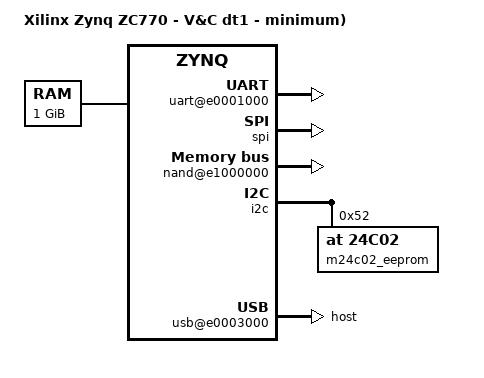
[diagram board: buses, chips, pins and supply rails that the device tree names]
/dts-v1/;

/ {
	model = "Xilinx Zynq ZC770 - V&C dt1 - minimum)";
	compatible = "xlnx,zynq-zc770-xm010";
	#address-cells = <0x1>;
	#size-cells = <0x1>;
	interrupt-parent = <0x1>;

	memory {
		device_type = "memory";
		reg = <0x0 0x40000000>;
	};

	chosen {
		bootargs = "console=ttyPS0,115200 root=/dev/ram rw initrd=0x800000,8M earlyprintk";
		linux,stdout-path = "/amba@0/uart@E0001000";
	};

	amba@0 {
		compatible = "simple-bus";
		#address-cells = <0x1>;
		#size-cells = <0x1>;
		ranges;

		intc@f8f01000 {
			interrupt-controller;
			compatible = "arm,gic";
			reg = <0xf8f01000 0x1000>;
			#interrupt-cells = <0x2>;
			linux,phandle = <0x1>;
			phandle = <0x1>;
		};

		uart@e0001000 {
			compatible = "xlnx,ps7-uart-1.00.a";
			reg = <0xe0001000 0x1000>;
			interrupts = <0x52 0x0>;
			clock = <0x2faf080>;
		};

		timer@0xf8001000 {
			compatible = "xlnx,ps7-ttc-1.00.a";
			reg = <0xf8001000 0x1000>;
			interrupts = <0x2a 0x0>;
			clock-frequency = <0x7ed6b40>;
		};

		spi: spi@e0006000 {
			compatible = "xlnx,ps7-spi-1.00.a";
			reg = <0xe0006000 0x1000>;
			interrupts = <58 0>;
			speed-hz = <50000000>;
			bus-num = <0>;
			num-chip-select = <4>;
		};

		nand@e1000000 {
			compatible = "xlnx,ps7-nand-1.00.a";
			reg = <0xe1000000 0x1000000 0xe000e000 0x1000>;
			#address-cells = <0x1>;
			#size-cells = <0x1>;

			partition@0 {
				label = "nand-fsbl-uboot-bit";
				reg = <0x0 0x500000>;
			};

			partition@1 {
				label = "nand-linux";
				reg = <0x500000 0x300000>;
			};

			partition@2 {
				label = "nand-devicetree";
				reg = <0x800000 0x100000>;
			};

			partition@3 {
				label = "nand-ramdisk";
				reg = <0x900000 0x400000>;
			};

			partition@4 {
				label = "nand-scratch";
				reg = <0xd00000 0x200000>;
			};
		};

		i2c: i2c@e0005000 {
			compatible = "xlnx,ps7-i2c-1.00.a";
			reg = <0xe0005000 0x1000>;
			interrupts = <80 0>;
			bus-id = <1>;
			input-clk = <50000000>;
			i2c-clk = <100000>;

			#address-cells = <1>;
			#size-cells = <0>;
			m24c02_eeprom@52 {
				compatible = "at,24c02";
				reg = <0x52>;
			};
		};

		usb@e0003000 {
			compatible = "xlnx,ps7-usb-1.00.a";
			reg = <0xe0003000 0x1000>;
			interrupts = <0x4C 0x0>;
			dr_mode = "host";
			phy_type = "ulpi";
		};

		slcr@f8000000 {
			compatible = "xlnx,ps7-slcr-1.00.a";
			reg = <0xf8000000 0x1000>;
		};

		devcfg@f8007000 {
			compatible = "xlnx,ps7-dev-cfg-1.00.a";
			reg = <0xf8007000 0x1000>;
			interrupts = <0x28 0x0>;
		};
	};
};
